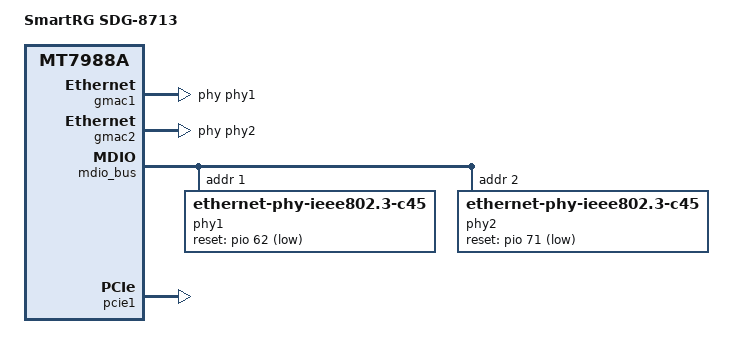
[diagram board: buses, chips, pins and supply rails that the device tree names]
// SPDX-License-Identifier: (GPL-2.0 OR MIT)
/*
 * Copyright (C) 2025 SmartRG Inc.
 * Author: Chad Monroe <chad.monroe@smartrg.com>
 */

#include "mt7988a-smartrg-mt-stuart.dtsi"

/ {
	model = "SmartRG SDG-8713";
	compatible = "smartrg,sdg-8713", "mediatek,mt7988a";

	/delete-node/ thermal-zones;
	thermal-zones {
		cpu_thermal: cpu-thermal {
			polling-delay-passive = <1000>;
			polling-delay = <1000>;
			thermal-sensors = <&lvts 0>;

			trips {
				cpu_trip_crit: crit {
					temperature = <125000>;
					hysteresis = <2000>;
					type = "critical";
				};
			};
		};
	};
};

/delete-node/ &fan;
/delete-node/ &phy0;
/delete-node/ &phy8;
/delete-node/ &radio0;

&gmac1 {
	label = "lan1";
	phy = <&phy1>;
};

&gmac2 {
	label = "wan";
	phy = <&phy2>;
};

&mdio_bus {
	/delete-property/ reset-gpios;
	/delete-property/ reset-delay-us;
	/delete-property/ reset-post-delay-us;

	phy1: ethernet-phy@1 {
		/* Realtek RTL8261 - LAN1 */
		compatible = "ethernet-phy-ieee802.3-c45";
		reg = <1>;
		#thermal-sensor-cells = <0>;

		reset-gpios = <&pio 62 GPIO_ACTIVE_LOW>;
		reset-assert-us = <100000>;
		reset-deassert-us = <221000>;

		leds {
			#address-cells = <1>;
			#size-cells = <0>;

			led@0 {
				reg = <0>;
				color = <LED_COLOR_ID_WHITE>;
				function = LED_FUNCTION_LAN;
				function-enumerator = <1>;
			};

			led@1 {
				reg = <1>;
				color = <LED_COLOR_ID_GREEN>;
				function = LED_FUNCTION_LAN;
				function-enumerator = <1>;
				active-low;
			};

			led@3 {
				reg = <3>;
				color = <LED_COLOR_ID_ORANGE>;
				function = LED_FUNCTION_LAN;
				function-enumerator = <1>;
				active-low;
			};
		};
	};

	phy2: ethernet-phy@2 {
		/* Realtek RTL8261 - WAN */
		compatible = "ethernet-phy-ieee802.3-c45";
		reg = <2>;
		#thermal-sensor-cells = <0>;

		reset-gpios = <&pio 71 GPIO_ACTIVE_LOW>;
		reset-assert-us = <100000>;
		reset-deassert-us = <221000>;

		leds {
			#address-cells = <1>;
			#size-cells = <0>;

			led@0 {
				reg = <0>;
				color = <LED_COLOR_ID_WHITE>;
				function = LED_FUNCTION_WAN;
				active-low;
			};

			led@1 {
				reg = <1>;
				color = <LED_COLOR_ID_ORANGE>;
				function = LED_FUNCTION_WAN;
			};

			led@3 {
				reg = <3>;
				color = <LED_COLOR_ID_GREEN>;
				function = LED_FUNCTION_WAN;
			};
		};
	};
};

&pcie0 {
	status = "disabled";
};

&pcie1 {
	wifi-reset-gpios = <&pio 7 GPIO_ACTIVE_LOW>;
	wifi-reset-msleep = <100>;
	wifi-deassert-msleep = <500>;
	status = "okay";

	pcie@0,0 {
		reg = <0x0000 0 0 0 0>;
		#address-cells = <3>;
		#size-cells = <2>;

		radio0: mt7996@0,0 {
			reg = <0x0000 0 0 0 0>;
			#address-cells = <1>;
			#size-cells = <0>;
			nvmem-cells = <&eeprom_factory_0>, <&precal_factory_1e10>;
			nvmem-cell-names = "eeprom", "precal";
			ieee80211-freq-limit = <2400000 2500000>, <5170000 5835000>;

			band@0 {
				/* 2.4 GHz */
				reg = <0>;
				nvmem-cells = <&macaddr 0x4>;
				nvmem-cell-names = "mac-address";
			};

			band@1 {
				/* 5 GHz */
				reg = <1>;
				nvmem-cells = <&macaddr 0xa>;
				nvmem-cell-names = "mac-address";
			};
		};
	};
};

#include "mt7988a-smartrg-SDG-8713-power-limits-r0-RCM-AU-NZ.dtsi"
#include "mt7988a-smartrg-SDG-8713-power-limits-r1-IC-CA.dtsi"
#include "mt7988a-smartrg-SDG-8713-power-limits-r2-ETSI-GB.dtsi"
#include "mt7988a-smartrg-SDG-8713-power-limits-r3-ETSI.dtsi"
#include "mt7988a-smartrg-SDG-8713-power-limits-r4-FCC-US.dtsi"

&ssusb1 {
	status = "disabled";
};

&tphy {
	status = "disabled";
};

&serial1 {
	status = "disabled";
};

&serial2 {
	status = "disabled";
};

&xsphy {
	status = "disabled";
};
